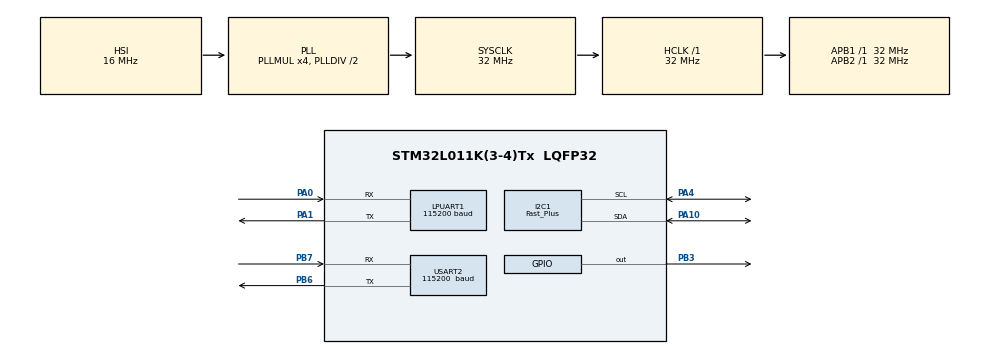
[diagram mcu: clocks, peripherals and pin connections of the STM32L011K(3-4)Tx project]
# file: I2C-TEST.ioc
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I2C1.I2C_Speed_Mode=I2C_Fast_Plus
I2C1.OwnAddress=0x08
I2C1.Speed=922
I2C1.Timing=0x00100713
LPUART1.BaudRate=115200
LPUART1.WordLength=UART_WORDLENGTH_8B
Mcu.Family=STM32L0
Mcu.Name=STM32L011K(3-4)Tx
Mcu.Package=LQFP32
NVIC.LPUART1_IRQn=true\:0\:0\:false\:false\:true\:true
NVIC.USART2_IRQn=true\:0\:0\:false\:false\:true\:true
PA0-CK_IN.Mode=Asynchronous
PA0-CK_IN.Signal=LPUART1_RX
PA1.Mode=Asynchronous
PA1.Signal=LPUART1_TX
PA10.Mode=I2C
PA10.Signal=I2C1_SDA
PA13.Mode=Serial_Wire
PA13.Signal=SYS_SWDIO
PA14.Mode=Serial_Wire
PA14.Signal=SYS_SWCLK
PA4.Mode=I2C
PA4.Signal=I2C1_SCL
PB3.GPIO_ModeDefaultOutputPP=GPIO_MODE_OUTPUT_PP
PB3.GPIO_PuPd=GPIO_NOPULL
PB3.GPIO_Speed=GPIO_SPEED_FREQ_LOW
PB3.PinState=GPIO_PIN_RESET
PB3.Signal=GPIO_Output
PB6.GPIO_FM6=__NULL
PB6.GPIO_ModeDefaultPP=GPIO_MODE_AF_PP
PB6.GPIO_PuPd=GPIO_NOPULL
PB6.GPIO_Speed=GPIO_SPEED_FREQ_VERY_HIGH
PB6.Mode=Asynchronous
PB6.Signal=USART2_TX
PB7.GPIO_FM7=__NULL
PB7.GPIO_ModeDefaultPP=GPIO_MODE_AF_PP
PB7.GPIO_PuPd=GPIO_NOPULL
PB7.GPIO_Speed=GPIO_SPEED_FREQ_VERY_HIGH
PB7.Mode=Asynchronous
PB7.Signal=USART2_RX
PC14-OSC32_IN.Mode=LSE-External-Oscillator
PC14-OSC32_IN.Signal=RCC_OSC32_IN
PC15-OSC32_OUT.Mode=LSE-External-Oscillator
PC15-OSC32_OUT.Signal=RCC_OSC32_OUT
ProjectManager.HeapSize=0x100
ProjectManager.StackSize=0x100
ProjectManager.TargetToolchain=Makefile
RCC.AHBFreq_Value=32000000
RCC.APB1Freq_Value=32000000
RCC.APB1TimFreq_Value=32000000
RCC.APB2Freq_Value=32000000
RCC.APB2TimFreq_Value=32000000
RCC.HCLKFreq_Value=32000000
RCC.HSE_VALUE=8000000
RCC.HSI16_VALUE=16000000
RCC.HSI48_VALUE=48000000
RCC.HSI_VALUE=16000000
RCC.MSI_VALUE=2097000
RCC.PLLMUL=RCC_PLLMUL_4
RCC.SYSCLKFreq_VALUE=32000000
RCC.SYSCLKSource=RCC_SYSCLKSOURCE_PLLCLK
RCC.VCOOutputFreq_Value=64000000
USART2.BaudRate=115200 
USART2.VirtualMode-Asynchronous=VM_ASYNC
board=NUCLEO-L011K4

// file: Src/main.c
/* USER CODE BEGIN Header */
/**
  ******************************************************************************
  * @file           : main.c
  * @brief          : Main program body
  ******************************************************************************
  ** This notice applies to any and all portions of this file
  * that are not between comment pairs USER CODE BEGIN and
  * USER CODE END. Other portions of this file, whether
  * inserted by the user or by software development tools
  * are owned by their respective copyright owners.
  *
  * COPYRIGHT(c) 2019 STMicroelectronics
  *
  * Redistribution and use in source and binary forms, with or without modification,
  * are permitted provided that the following conditions are met:
  *   1. Redistributions of source code must retain the above copyright notice,
  *      this list of conditions and the following disclaimer.
  *   2. Redistributions in binary form must reproduce the above copyright notice,
  *      this list of conditions and the following disclaimer in the documentation
  *      and/or other materials provided with the distribution.
  *   3. Neither the name of STMicroelectronics nor the names of its contributors
  *      may be used to endorse or promote products derived from this software
  *      without specific prior written permission.
  *
  * THIS SOFTWARE IS PROVIDED BY THE COPYRIGHT HOLDERS AND CONTRIBUTORS "AS IS"
  * AND ANY EXPRESS OR IMPLIED WARRANTIES, INCLUDING, BUT NOT LIMITED TO, THE
  * IMPLIED WARRANTIES OF MERCHANTABILITY AND FITNESS FOR A PARTICULAR PURPOSE ARE
  * DISCLAIMED. IN NO EVENT SHALL THE COPYRIGHT HOLDER OR CONTRIBUTORS BE LIABLE
  * FOR ANY DIRECT, INDIRECT, INCIDENTAL, SPECIAL, EXEMPLARY, OR CONSEQUENTIAL
  * DAMAGES (INCLUDING, BUT NOT LIMITED TO, PROCUREMENT OF SUBSTITUTE GOODS OR
  * SERVICES; LOSS OF USE, DATA, OR PROFITS; OR BUSINESS INTERRUPTION) HOWEVER
  * CAUSED AND ON ANY THEORY OF LIABILITY, WHETHER IN CONTRACT, STRICT LIABILITY,
  * OR TORT (INCLUDING NEGLIGENCE OR OTHERWISE) ARISING IN ANY WAY OUT OF THE USE
  * OF THIS SOFTWARE, EVEN IF ADVISED OF THE POSSIBILITY OF SUCH DAMAGE.
  *
  ******************************************************************************
  */
/* USER CODE END Header */

#include "main.h"

/* USER CODE BEGIN Includes */

#include <string.h>
#include <stdbool.h>
#include <stdio.h>
#include <stm32l0xx_nucleo_32.h>
#include <stdlib.h>
#include <ctype.h>
#include <stdint.h>

/* USER CODE END Includes */

/* USER CODE BEGIN PTD */

/*!
 *  Structure définissant le buffer circulaire
 */
typedef struct circ_bbuf_t
{
  uint8_t *const buffer;
  int head;
  int tail;
  const int maxlen;
} circ_bbuf_t;

/* USER CODE END PTD */

/* USER CODE BEGIN PD */

/*!
 *  1 pour usage multi uart sinon 0
 */
#define USE_MULTIPLE_UART 1

/*!
 *  Nombres de ports uart connectés
 */
#define MAX_UART_PORT 2

/*!
 *  Taille des|du buffer(s) circulaire(s)
 */
#if USE_MULTIPLE_UART == 1
#define CIRC_BUFFER_MAX_SIZE    550
#else
#define CIRC_BUFFER_MAX_SIZE    1024
#endif

/*!
 *  Adresse i2c de la middle board (inutile)
 */
#define I2C_ADDRESS 0x08

/*!
 *  @brief   Maccro d'initialisation du buffer circ
 *  @param   x   label du buffer circ
 *  @param   y   taille
 */
#define CIRC_BBUF_DEF(x, y)      \
  uint8_t x##_data_space[y + 1]; \
  circ_bbuf_t x = {              \
      .buffer = x##_data_space,  \
      .head = 0,                 \
      .tail = 0,                 \
      .maxlen = y + 1}

/*!
 *  réinitialiser le buffer à zero
 */
#define CIRC_BBUF_RESET(x) \
  do                       \
  {                        \
    x.head = 0;            \
    x.tail = 0;            \
  } while (0)

/* USER CODE END PD */

I2C_HandleTypeDef hi2c1;

UART_HandleTypeDef hlpuart1;
UART_HandleTypeDef huart2;

/* USER CODE BEGIN PV */

//Init circular buffer
#if USE_MULTIPLE_UART == 1
CIRC_BBUF_DEF(cbuf1, CIRC_BUFFER_MAX_SIZE);    // un buffer circulaire pour chaque port uart
CIRC_BBUF_DEF(cbuf2, CIRC_BUFFER_MAX_SIZE);
#else
CIRC_BBUF_DEF(cbuf, CIRC_BUFFER_MAX_SIZE);
#endif

/*!
 *  Buffers de réception par uart
 */
#if USE_MULTIPLE_UART == 1
uint8_t rxBuff1 = 0;
uint8_t rxBuff2 = 0;
#else
uint8_t rxBuff = 0;
#endif

#if USE_MULTIPLE_UART == 1
/*!
 *  Tableau contenant les différentes adresses de buffer circ
 */
circ_bbuf_t *bbuf_table[MAX_UART_PORT] = {
  &cbuf1,
  &cbuf2
};
#endif

/*!
 *  Port uart : utilisé comme index, on peut imagine une évolution
 *              avec envoi du port uart en plus du caractère pour
 *              de meilleurs logs
 */
uint8_t uartPort = 1;

/* USER CODE END PV */

void SystemClock_Config(void);
static void MX_GPIO_Init(void);
static void MX_USART2_UART_Init(void);
static void MX_I2C1_Init(void);
static void MX_LPUART1_UART_Init(void);
/* USER CODE BEGIN PFP */

//Circular buffer functions
int circ_bbuf_push(circ_bbuf_t *c, uint8_t data);
int circ_bbuf_pop(circ_bbuf_t *c, uint8_t *data);
int circ_bbuf_free_space(circ_bbuf_t *c);

/*!
 *  Fonction basique pour convertir un entier compris entre 0 et 9 en caractère
 */
char itoch(int i);

/* USER CODE END PFP */

int main(void)
{

  /* MCU Configuration--------------------------------------------------------*/

  /* Reset of all peripherals, Initializes the Flash interface and the Systick. */
  HAL_Init();

  /* Configure the system clock */
  SystemClock_Config();

  /* Initialize all configured peripherals */
  MX_GPIO_Init();
  MX_USART2_UART_Init();
  MX_I2C1_Init();
  MX_LPUART1_UART_Init();
  /* USER CODE BEGIN 2 */

  BSP_LED_Init(LED3);

  BSP_LED_Off(LED3);

  //buffer d'envoi en i2c
  uint8_t txbuff[2] = {0};
  uint8_t buff = 0;

#if USE_MULTIPLE_UART == 1
  HAL_UART_Receive_IT(&hlpuart1, &rxBuff1, 1);
  HAL_UART_Receive_IT(&huart2, &rxBuff2, 1);
  /*mettre toutes les fonctions d'interupt*/
#else
  HAL_UART_Receive_IT(&huart2, &rxBuff, 1);
#endif
  /* USER CODE END 2 */

  /* Infinite loop */
  /* USER CODE BEGIN WHILE */
  while (1)
  {
    //on tente de récup un caractère du buffer circ
#if USE_MULTIPLE_UART == 1
    if(circ_bbuf_pop(bbuf_table[uartPort-1], &buff) != -1)
#else
    if(circ_bbuf_pop(&cbuf, &txbuff[1]) != -1)
#endif
    {
      txbuff[0] = buff;
      txbuff[1] = itoch(uartPort);        //on convertie l'entier en caractere correspondant

      //envoi du caractère + le port uart par i2c
      if (HAL_I2C_Slave_Transmit(&hi2c1, txbuff, 2, 0xFF) != HAL_OK)
      {
        BSP_LED_On(LED3);
      }

    }

#if USE_MULTIPLE_UART == 1
      //si un des 2 uart n'a toujours pas reçu de données en uart, on ne change pas de port
      if(rxBuff1 != 0 && rxBuff2 != 0)
      {
        //changement du port uart
        if(txbuff[0] == '\r' || txbuff[0] == '\n')
        {
          if(uartPort == MAX_UART_PORT)
          {
            uartPort = 1;
          }
          else
          {
            uartPort++;
          }
        }
      }
#endif
    /* USER CODE END WHILE */

  }
}

void SystemClock_Config(void)
{
  RCC_OscInitTypeDef RCC_OscInitStruct = {0};
  RCC_ClkInitTypeDef RCC_ClkInitStruct = {0};
  RCC_PeriphCLKInitTypeDef PeriphClkInit = {0};

  /**Configure the main internal regulator output voltage
  */
  __HAL_PWR_VOLTAGESCALING_CONFIG(PWR_REGULATOR_VOLTAGE_SCALE1);
  /**Initializes the CPU, AHB and APB busses clocks
  */
  RCC_OscInitStruct.OscillatorType = RCC_OSCILLATORTYPE_HSI;
  RCC_OscInitStruct.HSIState = RCC_HSI_ON;
  RCC_OscInitStruct.HSICalibrationValue = RCC_HSICALIBRATION_DEFAULT;
  RCC_OscInitStruct.PLL.PLLState = RCC_PLL_ON;
  RCC_OscInitStruct.PLL.PLLSource = RCC_PLLSOURCE_HSI;
  RCC_OscInitStruct.PLL.PLLMUL = RCC_PLLMUL_4;
  RCC_OscInitStruct.PLL.PLLDIV = RCC_PLLDIV_2;
  if (HAL_RCC_OscConfig(&RCC_OscInitStruct) != HAL_OK)
  {
    Error_Handler();
  }
  /**Initializes the CPU, AHB and APB busses clocks
  */
  RCC_ClkInitStruct.ClockType = RCC_CLOCKTYPE_HCLK|RCC_CLOCKTYPE_SYSCLK
                              |RCC_CLOCKTYPE_PCLK1|RCC_CLOCKTYPE_PCLK2;
  RCC_ClkInitStruct.SYSCLKSource = RCC_SYSCLKSOURCE_PLLCLK;
  RCC_ClkInitStruct.AHBCLKDivider = RCC_SYSCLK_DIV1;
  RCC_ClkInitStruct.APB1CLKDivider = RCC_HCLK_DIV1;
  RCC_ClkInitStruct.APB2CLKDivider = RCC_HCLK_DIV1;

  if (HAL_RCC_ClockConfig(&RCC_ClkInitStruct, FLASH_LATENCY_1) != HAL_OK)
  {
    Error_Handler();
  }
  PeriphClkInit.PeriphClockSelection = RCC_PERIPHCLK_USART2|RCC_PERIPHCLK_LPUART1
                              |RCC_PERIPHCLK_I2C1;
  PeriphClkInit.Usart2ClockSelection = RCC_USART2CLKSOURCE_PCLK1;
  PeriphClkInit.Lpuart1ClockSelection = RCC_LPUART1CLKSOURCE_PCLK1;
  PeriphClkInit.I2c1ClockSelection = RCC_I2C1CLKSOURCE_PCLK1;
  if (HAL_RCCEx_PeriphCLKConfig(&PeriphClkInit) != HAL_OK)
  {
    Error_Handler();
  }
}

static void MX_I2C1_Init(void)
{

  /* USER CODE BEGIN I2C1_Init 1 */

  //l'adresse est shift de 1 bit vers la gauche pour suivre le formalisme imposé par ST
  //hi2c1.Init.OwnAddress1 = (I2C_ADDRESS << 1);

  /* USER CODE END I2C1_Init 1 */
  hi2c1.Instance = I2C1;
  hi2c1.Init.Timing = 0x00100713;
  hi2c1.Init.OwnAddress1 = 16;
  hi2c1.Init.AddressingMode = I2C_ADDRESSINGMODE_7BIT;
  hi2c1.Init.DualAddressMode = I2C_DUALADDRESS_DISABLE;
  hi2c1.Init.OwnAddress2 = 0;
  hi2c1.Init.OwnAddress2Masks = I2C_OA2_NOMASK;
  hi2c1.Init.GeneralCallMode = I2C_GENERALCALL_DISABLE;
  hi2c1.Init.NoStretchMode = I2C_NOSTRETCH_DISABLE;
  if (HAL_I2C_Init(&hi2c1) != HAL_OK)
  {
    Error_Handler();
  }
  /**Configure Analogue filter
  */
  if (HAL_I2CEx_ConfigAnalogFilter(&hi2c1, I2C_ANALOGFILTER_ENABLE) != HAL_OK)
  {
    Error_Handler();
  }
  /**Configure Digital filter
  */
  if (HAL_I2CEx_ConfigDigitalFilter(&hi2c1, 0) != HAL_OK)
  {
    Error_Handler();
  }
  /**I2C Fast mode Plus enable
  */
  HAL_I2CEx_EnableFastModePlus(I2C_FASTMODEPLUS_I2C1);

}

static void MX_LPUART1_UART_Init(void)
{

  hlpuart1.Instance = LPUART1;
  hlpuart1.Init.BaudRate = 115200;
  hlpuart1.Init.WordLength = UART_WORDLENGTH_8B;
  hlpuart1.Init.StopBits = UART_STOPBITS_1;
  hlpuart1.Init.Parity = UART_PARITY_NONE;
  hlpuart1.Init.Mode = UART_MODE_TX_RX;
  hlpuart1.Init.HwFlowCtl = UART_HWCONTROL_NONE;
  hlpuart1.Init.OneBitSampling = UART_ONE_BIT_SAMPLE_DISABLE;
  hlpuart1.AdvancedInit.AdvFeatureInit = UART_ADVFEATURE_NO_INIT;
  if (HAL_UART_Init(&hlpuart1) != HAL_OK)
  {
    Error_Handler();
  }

}

static void MX_USART2_UART_Init(void)
{

  huart2.Instance = USART2;
  huart2.Init.BaudRate = 115200 ;
  huart2.Init.WordLength = UART_WORDLENGTH_8B;
  huart2.Init.StopBits = UART_STOPBITS_1;
  huart2.Init.Parity = UART_PARITY_NONE;
  huart2.Init.Mode = UART_MODE_TX_RX;
  huart2.Init.HwFlowCtl = UART_HWCONTROL_NONE;
  huart2.Init.OverSampling = UART_OVERSAMPLING_16;
  huart2.Init.OneBitSampling = UART_ONE_BIT_SAMPLE_DISABLE;
  huart2.AdvancedInit.AdvFeatureInit = UART_ADVFEATURE_NO_INIT;
  if (HAL_UART_Init(&huart2) != HAL_OK)
  {
    Error_Handler();
  }

}

static void MX_GPIO_Init(void)
{
  GPIO_InitTypeDef GPIO_InitStruct = {0};

  /* GPIO Ports Clock Enable */
  __HAL_RCC_GPIOC_CLK_ENABLE();
  __HAL_RCC_GPIOA_CLK_ENABLE();
  __HAL_RCC_GPIOB_CLK_ENABLE();

  /*Configure GPIO pin Output Level */
  HAL_GPIO_WritePin(GPIOB, GPIO_PIN_3, GPIO_PIN_RESET);

  /*Configure GPIO pin : PB3 */
  GPIO_InitStruct.Pin = GPIO_PIN_3;
  GPIO_InitStruct.Mode = GPIO_MODE_OUTPUT_PP;
  GPIO_InitStruct.Pull = GPIO_NOPULL;
  GPIO_InitStruct.Speed = GPIO_SPEED_FREQ_LOW;
  HAL_GPIO_Init(GPIOB, &GPIO_InitStruct);

}

/* USER CODE BEGIN 4 */

/*!
 * @brief   Permet de mettre une valeur dans le buffer circulaire
 * @param   c           circular buffer address
 * @param   data        données à mettre dans le buffer circulaire
 * @retval  int         0 - Success
 *                     -1 - Out of space
 */
int circ_bbuf_push(circ_bbuf_t *c, uint8_t data)
{
  int next;

  next = c->head + 1; // next is where head will point to after this write.
  if (next >= c->maxlen)
    next = 0;

  // if the head + 1 == tail, circular buffer is full. Notice that one slot
  // is always left empty to differentiate empty vs full condition
  if (next == c->tail)
    return -1;

  c->buffer[c->head] = data; // Load data and then move
  c->head = next;            // head to next data offset.
  return 0;                  // return success to indicate successful push.
}

/*!
 * @brief   Permet de récupérer la valeur à lire dans le buffer circulaire
 * @param   c           circular buffer address
 * @param   data        variable pour acceuillir la valeur pop
 * @retval  int         0 - Success
 *                     -1 - Empty
 */
int circ_bbuf_pop(circ_bbuf_t *c, uint8_t *data)
{
  int next;

  if (c->head == c->tail) // if the head == tail, we don't have any data
    return -1;

  next = c->tail + 1; // next is where tail will point to after this read.
  if (next >= c->maxlen)
    next = 0;

  *data = c->buffer[c->tail]; // Read data and then move
  c->tail = next;             // tail to next offset.
  return 0;                   // return success to indicate successful push.
}

/*!
 * @brief   Permet de récupérer la taille de l'espace libre dans le buffer circulaire
 * @param   c           circular buffer address
 * @retval  int         number of bytes available
 */
int circ_bbuf_free_space(circ_bbuf_t *c)
{
  int freeSpace;
  freeSpace = c->tail - c->head;
  if (freeSpace <= 0)
    freeSpace += c->maxlen;
  return freeSpace - 1; // -1 to account for the always-empty slot.
}

/*!
 * @brief   Callback de la fonction d'interuption HAL_UART_Receive_IT(...)
 * @param   huart       pointeur vers une structure de l'uart
 * @retval  none
 */
void HAL_UART_RxCpltCallback(UART_HandleTypeDef *huart)
{
#if USE_MULTIPLE_UART == 1
  if(huart == &huart2)
  {
    circ_bbuf_push(&cbuf2, rxBuff2);
    HAL_UART_Receive_IT(huart, &rxBuff2, 1);
  }
  else if(huart == &hlpuart1)
  {
    circ_bbuf_push(&cbuf1, rxBuff1);
    HAL_UART_Receive_IT(huart, &rxBuff1, 1);
  }

#else
  circ_bbuf_push(&cbuf, rxBuff);
  HAL_UART_Receive_IT(&huart2, &rxBuff, 1);
#endif
}

char itoch(int i)
{
  return (i + '0') ;
}

/* USER CODE END 4 */

void Error_Handler(void)
{
}

/************************ (C) COPYRIGHT STMicroelectronics *****END OF FILE****/
